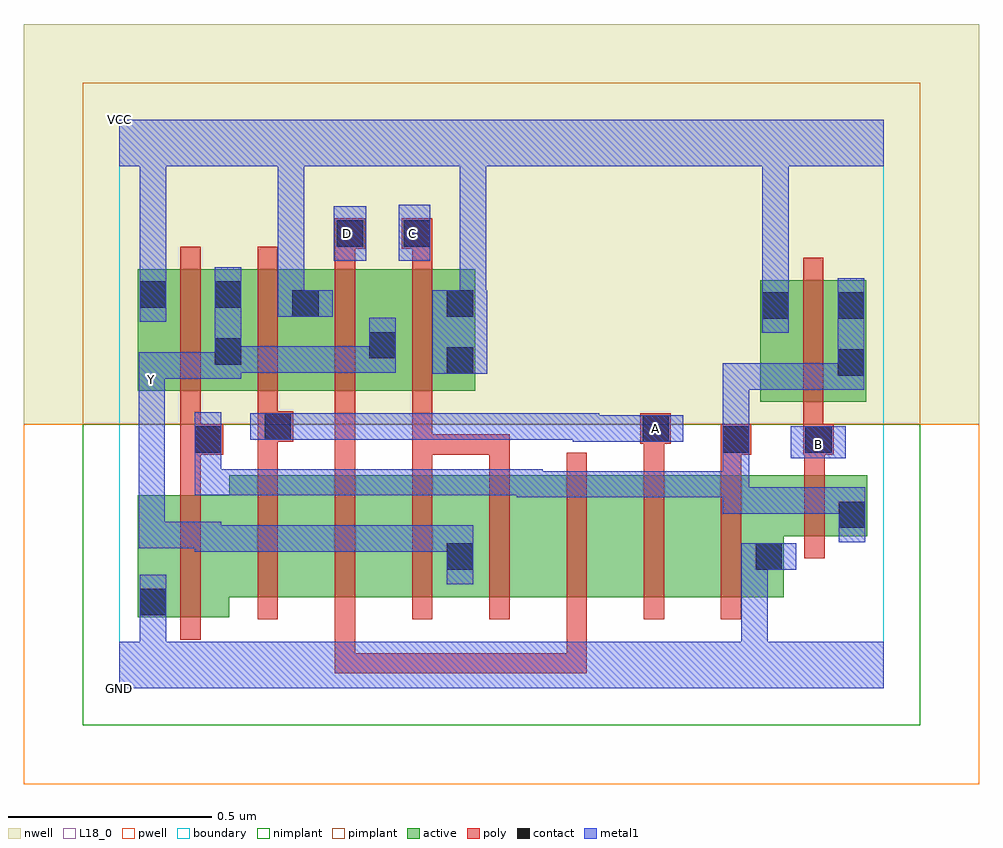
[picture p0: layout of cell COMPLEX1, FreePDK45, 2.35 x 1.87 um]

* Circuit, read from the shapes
.subckt COMPLEX1 A B C D GND VCC Y
M1 n1 n2 GND VSUBS nfet w=0.3u l=0.05u
M2 n3 A n1 VSUBS nfet w=0.3u l=0.05u
M3 n4 D n3 VSUBS nfet w=0.3u l=0.05u
M4 Y C n4 VSUBS nfet w=0.3u l=0.05u
M5 n5 C Y VSUBS nfet w=0.3u l=0.05u
M6 n6 D n5 VSUBS nfet w=0.3u l=0.05u
M7 n7 A n6 VSUBS nfet w=0.3u l=0.05u
M8 GND n2 n7 VSUBS nfet w=0.3u l=0.05u
M9 n2 B GND VSUBS nfet w=0.15u l=0.05u
M10 Y n2 VCC n8 pfet w=0.3u l=0.05u
M11 VCC A Y n8 pfet w=0.3u l=0.05u
M12 Y D VCC n8 pfet w=0.3u l=0.05u
M13 VCC C Y n8 pfet w=0.3u l=0.05u
M14 n2 B VCC n8 pfet w=0.3u l=0.05u
.ends

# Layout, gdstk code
import gdstk
lib = gdstk.Library(unit=1e-6, precision=1e-09)
def R(c, l, rs):  # rectangles x0, y0, x1, y1
    for r in rs: c.add(gdstk.rectangle(r[:2], r[2:], *l))
def A(c, l, x, y, w, h, nx, ny, dx, dy):  # array of equal rectangles
    R(c, l, [(x+i*dx, y+j*dy, x+i*dx+w, y+j*dy+h) for i in range(nx) for j in range(ny)])
active = (1, 0)
pwell = (2, 0)
nwell = (3, 0)
nimplant = (4, 0)
pimplant = (5, 0)
poly = (9, 0)
contact = (10, 0)
metal1 = (11, 0)
L18_0 = (18, 0)
boundary = (235, 0)

complex1 = lib.new_cell('COMPLEX1')
A(complex1, active, 0.23, 0.732, 0.265, 0.3, 3, 1, 0.19, 0)
R(complex1, active, [(0.045,0.175,0.27,0.475), (0.045,0.175,0.12,0.475), (0.27,0.225,0.46,0.525), (0.46,0.225,0.65,0.525), (0.65,0.225,0.875,0.525), (0.8,0.225,1.03,0.525), (0.8,0.225,0.875,0.525), (1.03,0.225,1.22,0.525), (1.22,0.225,1.41,0.525), (1.41,0.225,1.635,0.525), (1.56,0.287,1.635,0.525), (1.56,0.375,1.84,0.525), (1.765,0.375,1.84,0.525), (1.577,0.705,1.652,1.005), (1.577,0.705,1.837,1.005), (1.762,0.705,1.837,1.005), (0.045,0.732,0.12,1.032), (0.045,0.732,0.305,1.032), (0.61,0.732,0.685,1.005), (0.8,0.732,0.875,1.005), (0.42,0.747,0.495,1.005), (0.23,0.792,0.305,1.007)])
R(complex1, pwell, [(-0.235,-0.235,2.115,0.65)])
R(complex1, nwell, [(-0.235,0.65,2.115,1.635)])
R(complex1, nimplant, [(-0.09,-0.09,1.97,0.65)])
R(complex1, pimplant, [(-0.09,0.65,1.97,1.49)])
A(complex1, poly, 0.34, 0.17, 0.05, 0.41, 7, 1, 0.19, 0)
A(complex1, poly, 0.15, 0.677, 0.05, 0.41, 4, 1, 0.19, 0)
R(complex1, poly, [(0.53,0.037,0.58,0.22), (0.53,0.037,0.58,0.087), (0.53,0.037,0.827,0.087), (0.777,0.037,0.827,0.087), (0.777,0.037,0.827,0.087), (0.777,0.037,0.827,0.087), (0.777,0.037,1.017,0.087), (0.967,0.037,1.017,0.087), (0.967,0.037,1.017,0.087), (0.967,0.037,1.017,0.087), (0.967,0.037,1.15,0.087), (1.1,0.037,1.15,0.22), (1.1,0.037,1.15,0.087), (1.1,0.037,1.15,0.087), (1.1,0.037,1.15,0.087), (0.15,0.12,0.2,0.53), (1.685,0.32,1.735,0.58), (0.15,0.48,0.2,0.625), (0.34,0.53,0.39,0.657), (0.53,0.53,0.58,0.682), (0.72,0.53,0.77,0.625), (0.91,0.53,0.96,0.625), (1.29,0.53,1.34,0.652), (1.48,0.53,1.53,0.625), (1.685,0.53,1.735,0.625), (0.15,0.575,0.255,0.65), (0.72,0.575,0.77,0.625), (0.72,0.575,0.96,0.625), (0.72,0.575,0.77,0.727), (0.91,0.575,0.96,0.625), (0.91,0.575,0.96,0.625), (0.91,0.575,0.96,0.625), (1.48,0.575,1.555,0.65), (1.682,0.575,1.757,0.65), (0.15,0.6,0.2,0.727), (1.682,0.6,1.732,0.7), (1.282,0.602,1.357,0.677), (0.34,0.607,0.427,0.682), (0.34,0.632,0.39,0.727), (0.53,0.632,0.58,0.727), (0.53,0.632,0.58,0.682), (1.682,0.65,1.732,1.06), (0.53,1.037,0.58,1.132), (0.72,1.037,0.77,1.132), (0.53,1.082,0.605,1.157), (0.695,1.082,0.77,1.157)])
R(complex1, contact, [(0.05,0.18,0.115,0.245), (0.805,0.292,0.87,0.357), (1.565,0.292,1.63,0.357), (1.77,0.395,1.835,0.46), (0.185,0.58,0.25,0.645), (1.485,0.58,1.55,0.645), (1.687,0.58,1.752,0.645), (1.287,0.607,1.352,0.672), (0.357,0.612,0.422,0.677), (1.767,0.77,1.832,0.835), (0.805,0.775,0.87,0.84), (0.235,0.797,0.3,0.862), (0.615,0.812,0.68,0.877), (1.582,0.91,1.647,0.975), (1.767,0.91,1.832,0.975), (0.425,0.915,0.49,0.98), (0.805,0.915,0.87,0.98), (0.05,0.937,0.115,1.002), (0.235,0.937,0.3,1.002), (0.535,1.087,0.6,1.152), (0.7,1.087,0.765,1.152)])
R(complex1, metal1, [(0,0,1.88,0.115), (0.05,0.05,0.115,0.115), (0.05,0.05,0.115,0.115), (0.05,0.05,0.115,0.115), (0.05,0.05,0.115,0.115), (0.05,0.05,0.115,0.21), (1.53,0.05,1.595,0.115), (1.53,0.05,1.595,0.115), (1.53,0.05,1.595,0.115), (1.53,0.05,1.595,0.115), (1.53,0.05,1.595,0.357), (0.05,0.145,0.115,0.28), (0.805,0.257,0.87,0.392), (1.53,0.292,1.665,0.357), (0.805,0.327,0.87,0.392), (0.805,0.327,0.87,0.402), (0.185,0.337,0.25,0.402), (0.185,0.337,0.25,0.402), (0.185,0.337,0.437,0.402), (0.185,0.337,0.25,0.41), (0.372,0.337,0.437,0.402), (0.372,0.337,0.437,0.402), (0.372,0.337,0.437,0.402), (0.372,0.337,0.607,0.402), (0.542,0.337,0.607,0.402), (0.542,0.337,0.607,0.402), (0.542,0.337,0.607,0.402), (0.542,0.337,0.87,0.402), (0.047,0.345,0.112,0.41), (0.047,0.345,0.25,0.41), (0.047,0.345,0.112,0.757), (1.77,0.36,1.835,0.495), (1.485,0.43,1.835,0.495), (1.485,0.43,1.55,0.535), (1.77,0.43,1.835,0.495), (1.77,0.43,1.835,0.495), (0.977,0.47,1.042,0.535), (0.977,0.47,1.042,0.535), (0.977,0.47,1.18,0.535), (0.977,0.47,1.042,0.54), (1.115,0.47,1.18,0.535), (1.115,0.47,1.18,0.535), (1.115,0.47,1.18,0.535), (1.115,0.47,1.317,0.535), (1.252,0.47,1.317,0.535), (1.252,0.47,1.317,0.535), (1.252,0.47,1.317,0.535), (1.252,0.47,1.55,0.535), (1.485,0.47,1.55,0.535), (1.485,0.47,1.55,0.535), (1.485,0.47,1.55,0.68), (0.185,0.475,0.25,0.54), (0.185,0.475,0.25,0.61), (0.185,0.475,0.437,0.54), (0.372,0.475,0.437,0.54), (0.372,0.475,0.437,0.54), (0.372,0.475,0.437,0.54), (0.372,0.475,0.607,0.54), (0.542,0.475,0.607,0.54), (0.542,0.475,0.607,0.54), (0.542,0.475,0.607,0.54), (0.542,0.475,0.745,0.54), (0.68,0.475,0.745,0.54), (0.68,0.475,0.745,0.54), (0.68,0.475,0.745,0.54), (0.68,0.475,1.042,0.54), (0.185,0.545,0.25,0.61), (0.185,0.545,0.25,0.61), (0.185,0.545,0.25,0.68), (1.485,0.545,1.55,0.68), (1.652,0.567,1.787,0.645), (1.115,0.607,1.18,0.672), (1.115,0.607,1.18,0.672), (1.115,0.607,1.317,0.672), (1.115,0.607,1.18,0.677), (1.252,0.607,1.387,0.672), (0.322,0.612,0.457,0.677), (0.392,0.612,0.457,0.677), (0.392,0.612,0.457,0.677), (0.392,0.612,0.607,0.677), (0.542,0.612,0.607,0.677), (0.542,0.612,0.607,0.677), (0.542,0.612,0.607,0.677), (0.542,0.612,0.745,0.677), (0.68,0.612,0.745,0.677), (0.68,0.612,0.745,0.677), (0.68,0.612,0.745,0.677), (0.68,0.612,1.042,0.677), (0.977,0.612,1.042,0.677), (0.977,0.612,1.042,0.677), (0.977,0.612,1.042,0.677), (0.977,0.612,1.18,0.677), (1.485,0.615,1.55,0.68), (1.485,0.615,1.55,0.68), (1.485,0.615,1.55,0.8), (0.047,0.692,0.112,0.757), (0.047,0.692,0.112,0.757), (0.047,0.692,0.112,0.827), (1.485,0.735,1.55,0.8), (1.485,0.735,1.832,0.8), (1.767,0.735,1.832,0.8), (1.767,0.735,1.832,0.8), (1.767,0.735,1.832,1.01), (0.047,0.762,0.112,0.827), (0.047,0.762,0.112,0.827), (0.047,0.762,0.112,0.827), (0.047,0.762,0.112,0.827), (0.047,0.762,0.3,0.827), (0.235,0.762,0.3,1.037), (0.77,0.775,0.905,0.98), (0.235,0.777,0.455,0.842), (0.39,0.777,0.455,0.842), (0.39,0.777,0.455,0.842), (0.39,0.777,0.455,0.842), (0.39,0.777,0.595,0.842), (0.53,0.777,0.595,0.842), (0.53,0.777,0.68,0.842), (0.615,0.777,0.68,0.912), (1.582,0.875,1.647,1.01), (0.05,0.902,0.115,1.037), (0.39,0.915,0.455,0.98), (0.39,0.915,0.455,0.98), (0.39,0.915,0.455,0.98), (0.39,0.915,0.455,0.98), (0.39,0.915,0.525,0.98), (0.39,0.915,0.455,1.35), (0.837,0.915,0.902,1.35), (1.582,0.945,1.647,1.01), (1.582,0.945,1.647,1.01), (1.582,0.945,1.647,1.01), (1.582,0.945,1.647,1.01), (1.582,0.945,1.647,1.35), (0.05,0.972,0.115,1.35), (0.527,1.052,0.607,1.187), (0.687,1.052,0.765,1.19), (0,1.285,1.88,1.4), (0.05,1.285,0.115,1.35), (0.05,1.285,0.115,1.35), (0.05,1.285,0.115,1.35), (0.05,1.285,0.115,1.35), (0.837,1.285,0.902,1.35), (0.837,1.285,0.902,1.35), (0.837,1.285,0.902,1.35), (0.837,1.285,0.902,1.35)])
A(complex1, L18_0, 0.047, 0.692, 0.065, 0.065, 1, 3, 0, 0.035)
R(complex1, L18_0, [(0,0,1.88,0.115), (0.05,0.05,0.115,0.115), (0.05,0.05,0.115,0.115), (0.05,0.05,0.115,0.115), (0.05,0.05,0.115,0.115), (0.05,0.05,0.115,0.21), (1.53,0.05,1.595,0.115), (1.53,0.05,1.595,0.115), (1.53,0.05,1.595,0.115), (1.53,0.05,1.595,0.115), (1.53,0.05,1.595,0.357), (0.05,0.145,0.115,0.28), (0.805,0.257,0.87,0.392), (1.53,0.292,1.665,0.357), (0.805,0.327,0.87,0.392), (0.805,0.327,0.87,0.402), (0.185,0.337,0.25,0.402), (0.185,0.337,0.25,0.402), (0.185,0.337,0.25,0.41), (0.185,0.337,0.437,0.402), (0.372,0.337,0.437,0.402), (0.372,0.337,0.437,0.402), (0.372,0.337,0.437,0.402), (0.372,0.337,0.607,0.402), (0.542,0.337,0.607,0.402), (0.542,0.337,0.607,0.402), (0.542,0.337,0.607,0.402), (0.542,0.337,0.87,0.402), (0.047,0.345,0.112,0.41), (0.047,0.345,0.112,0.757), (0.047,0.345,0.25,0.41), (1.652,0.567,1.787,0.645), (1.687,0.567,1.752,0.632), (1.115,0.607,1.18,0.672), (1.115,0.607,1.18,0.672), (1.115,0.607,1.18,0.677), (1.115,0.607,1.317,0.672), (1.252,0.607,1.387,0.672), (1.287,0.607,1.352,0.672), (0.322,0.612,0.457,0.677), (0.392,0.612,0.457,0.677), (0.392,0.612,0.457,0.677), (0.392,0.612,0.607,0.677), (0.542,0.612,0.607,0.677), (0.542,0.612,0.607,0.677), (0.542,0.612,0.607,0.677), (0.542,0.612,0.745,0.677), (0.68,0.612,0.745,0.677), (0.68,0.612,0.745,0.677), (0.68,0.612,0.745,0.677), (0.68,0.612,1.042,0.677), (0.977,0.612,1.042,0.677), (0.977,0.612,1.042,0.677), (0.977,0.612,1.042,0.677), (0.977,0.612,1.18,0.677), (0.047,0.692,0.112,0.757), (0.047,0.692,0.112,0.827), (0.047,0.762,0.112,0.827), (0.047,0.762,0.112,0.827), (0.047,0.762,0.112,0.827), (0.047,0.762,0.3,0.827), (0.235,0.762,0.3,1.037), (0.77,0.775,0.905,0.98), (0.235,0.777,0.455,0.842), (0.39,0.777,0.455,0.842), (0.39,0.777,0.455,0.842), (0.39,0.777,0.455,0.842), (0.39,0.777,0.595,0.842), (0.53,0.777,0.595,0.842), (0.53,0.777,0.68,0.842), (0.615,0.777,0.68,0.912), (1.582,0.875,1.647,1.01), (0.05,0.902,0.115,1.037), (0.39,0.915,0.455,0.98), (0.39,0.915,0.455,0.98), (0.39,0.915,0.455,0.98), (0.39,0.915,0.455,0.98), (0.39,0.915,0.525,0.98), (0.39,0.915,0.455,1.35), (0.837,0.915,0.902,1.35), (1.582,0.945,1.647,1.01), (1.582,0.945,1.647,1.01), (1.582,0.945,1.647,1.01), (1.582,0.945,1.647,1.01), (1.582,0.945,1.647,1.35), (0.05,0.972,0.115,1.35), (0.527,1.052,0.607,1.187), (0.687,1.052,0.765,1.19), (0.527,1.087,0.592,1.152), (0.687,1.087,0.752,1.152), (0,1.285,1.88,1.4), (0.05,1.285,0.115,1.35), (0.05,1.285,0.115,1.35), (0.05,1.285,0.115,1.35), (0.05,1.285,0.115,1.35), (0.837,1.285,0.902,1.35), (0.837,1.285,0.902,1.35), (0.837,1.285,0.902,1.35), (0.837,1.285,0.902,1.35)])
R(complex1, boundary, [(0,0,1.88,1.4)])
complex1.add(gdstk.Label('A', (1.32,0.64), layer=11, texttype=0))
complex1.add(gdstk.Label('B', (1.72,0.6), layer=11, texttype=0))
complex1.add(gdstk.Label('C', (0.72,1.12), layer=11, texttype=0))
complex1.add(gdstk.Label('D', (0.56,1.12), layer=11, texttype=0))
complex1.add(gdstk.Label('Y', (0.08,0.76), layer=11, texttype=0))
complex1.add(gdstk.Label('VCC', (0,1.4), layer=11, texttype=0))
complex1.add(gdstk.Label('GND', (0,0), layer=11, texttype=0))

lib.write_gds('COMPLEX1.gds')
